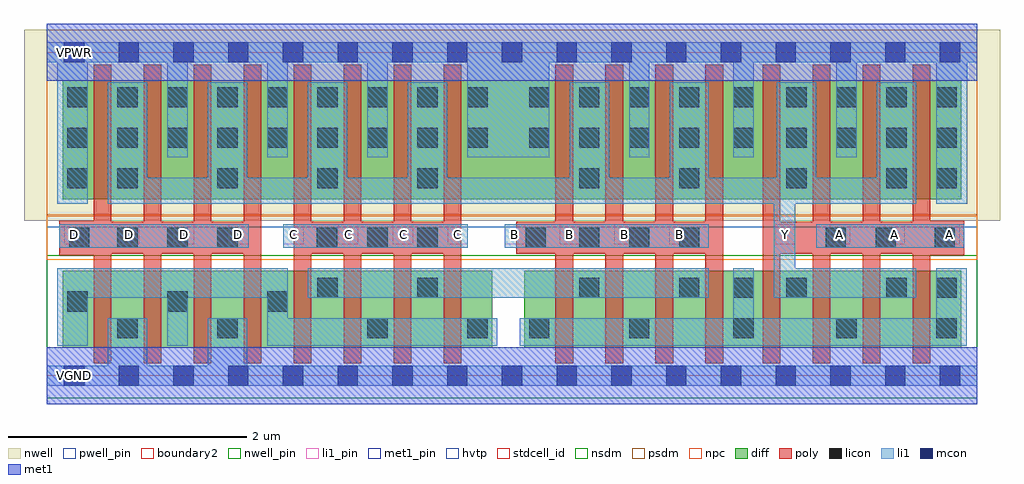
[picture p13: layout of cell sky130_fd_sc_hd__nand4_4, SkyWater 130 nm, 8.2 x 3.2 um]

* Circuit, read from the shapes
.subckt sky130_fd_sc_hd__nand4_4 A B C D VGND VNB VPB VPWR Y
XM1 VGND D n1 VNB sky130_fd_pr__nfet_01v8 w=0.65 l=0.15 m=4
XM2 n2 C n1 VNB sky130_fd_pr__nfet_01v8 w=0.65 l=0.15 m=4
XM3 n2 B n3 VNB sky130_fd_pr__nfet_01v8 w=0.65 l=0.15 m=4
XM4 Y A n3 VNB sky130_fd_pr__nfet_01v8 w=0.65 l=0.15 m=4
XM5 Y D VPWR VPB sky130_fd_pr__pfet_01v8_hvt w=1 l=0.15 m=4
XM6 Y C VPWR VPB sky130_fd_pr__pfet_01v8_hvt w=1 l=0.15 m=4
XM7 Y B VPWR VPB sky130_fd_pr__pfet_01v8_hvt w=1 l=0.15 m=4
XM8 Y A VPWR VPB sky130_fd_pr__pfet_01v8_hvt w=1 l=0.15 m=4
.ends

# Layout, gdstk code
import gdstk
lib = gdstk.Library(unit=1e-6, precision=1e-09)
def R(c, l, rs):  # rectangles x0, y0, x1, y1
    for r in rs: c.add(gdstk.rectangle(r[:2], r[2:], *l))
def A(c, l, x, y, w, h, nx, ny, dx, dy):  # array of equal rectangles
    R(c, l, [(x+i*dx, y+j*dy, x+i*dx+w, y+j*dy+h) for i in range(nx) for j in range(ny)])
def P(c, l, *ps):  # polygons
    for p in ps: c.add(gdstk.Polygon(p, *l))
nwell_pin = (64, 16)
nwell = (64, 20)
diff = (65, 20)
poly = (66, 20)
licon = (66, 44)
li1_pin = (67, 16)
li1 = (67, 20)
mcon = (67, 44)
met1_pin = (68, 16)
met1 = (68, 20)
hvtp = (78, 44)
stdcell_id = (81, 4)
nsdm = (93, 44)
psdm = (94, 20)
npc = (95, 20)
pwell_pin = (122, 16)
boundary2 = (236, 0)

sky130_fd_sc_hd__nand4_4 = lib.new_cell('sky130_fd_sc_hd__nand4_4')
R(sky130_fd_sc_hd__nand4_4, nwell_pin, [(0.15,2.635,0.32,2.805)])
R(sky130_fd_sc_hd__nand4_4, nwell, [(-0.19,1.305,8.01,2.91)])
R(sky130_fd_sc_hd__nand4_4, diff, [(0.135,0.235,3.745,0.885), (4.015,0.235,7.685,0.885), (0.135,1.485,7.685,2.485)])
R(sky130_fd_sc_hd__nand4_4, poly, [(0.105,1.015,0.395,1.025), (7.425,1.015,7.71,1.025), (0.105,1.295,0.395,1.305), (7.425,1.295,7.71,1.305)])
P(sky130_fd_sc_hd__nand4_4, poly, [(1.805,2.615),(1.655,2.615),(1.655,1.295),(1.385,1.295),(1.385,2.615),(1.235,2.615),(1.235,1.295),(0.965,1.295),(0.965,2.615),(0.815,2.615),(0.815,1.295),(0.545,1.295),(0.545,2.615),(0.395,2.615),(0.395,1.295),(0.105,1.295),(0.105,1.025),(0.395,1.025),(0.395,0.105),(0.545,0.105),(0.545,1.025),(0.815,1.025),(0.815,0.105),(0.965,0.105),(0.965,1.025),(1.235,1.025),(1.235,0.105),(1.385,0.105),(1.385,1.025),(1.655,1.025),(1.655,0.105),(1.805,0.105)],
  [(7.71,1.295),(7.425,1.295),(7.425,2.615),(7.275,2.615),(7.275,1.295),(7.005,1.295),(7.005,2.615),(6.855,2.615),(6.855,1.295),(6.585,1.295),(6.585,2.615),(6.435,2.615),(6.435,1.295),(6.165,1.295),(6.165,2.615),(6.015,2.615),(6.015,0.105),(6.165,0.105),(6.165,1.025),(6.435,1.025),(6.435,0.105),(6.585,0.105),(6.585,1.025),(6.855,1.025),(6.855,0.105),(7.005,0.105),(7.005,1.025),(7.275,1.025),(7.275,0.105),(7.425,0.105),(7.425,1.025),(7.71,1.025)],
  [(5.685,2.615),(5.535,2.615),(5.535,1.295),(5.265,1.295),(5.265,2.615),(5.115,2.615),(5.115,1.295),(4.845,1.295),(4.845,2.615),(4.695,2.615),(4.695,1.295),(4.425,1.295),(4.425,2.615),(4.275,2.615),(4.275,1.295),(3.945,1.295),(3.945,1.025),(4.275,1.025),(4.275,0.105),(4.425,0.105),(4.425,1.025),(4.695,1.025),(4.695,0.105),(4.845,0.105),(4.845,1.025),(5.115,1.025),(5.115,0.105),(5.265,0.105),(5.265,1.025),(5.535,1.025),(5.535,0.105),(5.685,0.105)],
  [(3.485,2.615),(3.335,2.615),(3.335,1.295),(3.065,1.295),(3.065,2.615),(2.915,2.615),(2.915,1.295),(2.645,1.295),(2.645,2.615),(2.495,2.615),(2.495,1.295),(2.225,1.295),(2.225,2.615),(2.075,2.615),(2.075,0.105),(2.225,0.105),(2.225,1.025),(2.495,1.025),(2.495,0.105),(2.645,0.105),(2.645,1.025),(2.915,1.025),(2.915,0.105),(3.065,0.105),(3.065,1.025),(3.335,1.025),(3.335,0.105),(3.485,0.105)])
A(sky130_fd_sc_hd__nand4_4, licon, 0.175, 0.54, 0.17, 0.17, 3, 1, 0.84, 0)
A(sky130_fd_sc_hd__nand4_4, licon, 0.595, 1.075, 0.17, 0.17, 3, 1, 0.42, 0)
A(sky130_fd_sc_hd__nand4_4, licon, 4.475, 1.075, 0.17, 0.17, 3, 1, 0.42, 0)
A(sky130_fd_sc_hd__nand4_4, licon, 0.595, 1.575, 0.17, 0.17, 4, 1, 0.84, 0)
A(sky130_fd_sc_hd__nand4_4, licon, 0.175, 1.915, 0.17, 0.17, 9, 2, 0.42, 0.34)
A(sky130_fd_sc_hd__nand4_4, licon, 4.055, 1.915, 0.17, 0.17, 4, 2, 0.42, 0.34)
A(sky130_fd_sc_hd__nand4_4, licon, 6.215, 1.915, 0.17, 0.17, 4, 2, 0.42, 0.34)
R(sky130_fd_sc_hd__nand4_4, licon, [(0.595,0.315,0.765,0.485), (1.435,0.315,1.605,0.485), (2.695,0.315,2.865,0.485), (3.535,0.315,3.705,0.485), (4.055,0.315,4.225,0.485), (4.895,0.315,5.065,0.485), (5.77,0.315,5.94,0.485), (6.635,0.315,6.805,0.485), (7.475,0.315,7.645,0.485), (2.275,0.655,2.445,0.825), (3.115,0.655,3.285,0.825), (4.475,0.655,4.645,0.825), (5.315,0.655,5.485,0.825), (5.77,0.655,5.94,0.825), (6.215,0.655,6.385,0.825), (7.055,0.655,7.225,0.825), (7.475,0.655,7.645,0.825), (0.19,1.075,0.36,1.245), (2.27,1.075,2.44,1.245), (2.695,1.075,2.865,1.245), (3.115,1.075,3.285,1.245), (4.025,1.075,4.195,1.245), (6.545,1.075,6.715,1.245), (6.965,1.075,7.135,1.245), (7.46,1.075,7.63,1.245), (0.175,1.575,0.345,1.745), (4.475,1.575,4.645,1.745), (5.315,1.575,5.485,1.745), (6.215,1.575,6.385,1.745), (7.055,1.575,7.225,1.745), (7.475,1.575,7.645,1.745), (5.77,1.915,5.94,2.085), (5.77,2.255,5.94,2.425)])
A(sky130_fd_sc_hd__nand4_4, li1_pin, 0.15, 1.105, 0.17, 0.17, 8, 1, 0.46, 0)
A(sky130_fd_sc_hd__nand4_4, li1_pin, 3.85, 1.105, 0.17, 0.17, 4, 1, 0.46, 0)
A(sky130_fd_sc_hd__nand4_4, li1_pin, 6.12, 1.105, 0.17, 0.17, 4, 1, 0.46, 0)
R(sky130_fd_sc_hd__nand4_4, li1, [(2.195,0.655,5.565,0.905), (0.105,1.075,1.7,1.275), (1.99,1.075,3.54,1.275), (3.85,1.075,5.565,1.275), (6.465,1.075,7.71,1.275)])
P(sky130_fd_sc_hd__nand4_4, li1, [(7.82,0.085),(1.685,0.085),(1.685,0.485),(1.355,0.485),(1.355,0.085),(0.845,0.085),(0.845,0.485),(0.515,0.485),(0.515,0.085),(0,0.085),(0,-0.085),(7.82,-0.085)],
  [(7.73,0.905),(7.475,0.905),(7.475,0.485),(5.94,0.485),(5.94,0.905),(5.77,0.905),(5.77,0.485),(3.975,0.485),(3.975,0.255),(7.73,0.255)],
  [(3.785,0.485),(2.025,0.485),(2.025,0.905),(0.09,0.905),(0.09,0.255),(0.345,0.255),(0.345,0.655),(1.015,0.655),(1.015,0.255),(1.185,0.255),(1.185,0.655),(1.855,0.655),(1.855,0.255),(3.785,0.255)],
  [(7.82,2.805),(0,2.805),(0,2.635),(0.09,2.635),(0.09,1.445),(0.345,1.445),(0.345,2.635),(1.015,2.635),(1.015,1.835),(1.185,1.835),(1.185,2.635),(1.855,2.635),(1.855,1.835),(2.025,1.835),(2.025,2.635),(2.695,2.635),(2.695,1.835),(2.865,1.835),(2.865,2.635),(3.535,2.635),(3.535,1.835),(4.225,1.835),(4.225,2.635),(4.895,2.635),(4.895,1.835),(5.065,1.835),(5.065,2.635),(5.77,2.635),(5.77,1.835),(5.94,1.835),(5.94,2.635),(6.635,2.635),(6.635,1.835),(6.805,1.835),(6.805,2.635),(7.475,2.635),(7.475,1.445),(7.735,1.445),(7.735,2.635),(7.82,2.635)],
  [(7.305,0.905),(6.29,0.905),(6.29,1.445),(7.305,1.445),(7.305,2.465),(6.975,2.465),(6.975,1.665),(6.465,1.665),(6.465,2.465),(6.135,2.465),(6.135,1.665),(5.565,1.665),(5.565,2.465),(5.235,2.465),(5.235,1.665),(4.725,1.665),(4.725,2.465),(4.395,2.465),(4.395,1.665),(3.365,1.665),(3.365,2.465),(3.035,2.465),(3.035,1.665),(2.525,1.665),(2.525,2.465),(2.195,2.465),(2.195,1.665),(1.685,1.665),(1.685,2.465),(1.355,2.465),(1.355,1.665),(0.845,1.665),(0.845,2.465),(0.515,2.465),(0.515,1.445),(6.11,1.445),(6.11,0.655),(7.305,0.655)])
A(sky130_fd_sc_hd__nand4_4, mcon, 0.145, -0.085, 0.17, 0.17, 17, 2, 0.46, 2.72)
R(sky130_fd_sc_hd__nand4_4, met1_pin, [(0.15,-0.085,0.32,0.085), (0.15,2.635,0.32,2.805)])
R(sky130_fd_sc_hd__nand4_4, hvtp, [(0,1.25,7.82,2.72)])
R(sky130_fd_sc_hd__nand4_4, stdcell_id, [(0,0,7.82,2.72)])
R(sky130_fd_sc_hd__nand4_4, nsdm, [(0,-0.19,7.82,1.015)])
R(sky130_fd_sc_hd__nand4_4, psdm, [(0,1.355,7.82,2.91)])
R(sky130_fd_sc_hd__nand4_4, npc, [(0,0.975,7.82,1.345)])
R(sky130_fd_sc_hd__nand4_4, pwell_pin, [(0.15,-0.085,0.32,0.085)])
R(sky130_fd_sc_hd__nand4_4, boundary2, [(0,0,7.82,2.72)])
sky130_fd_sc_hd__nand4_4.add(gdstk.FlexPath([(0,0),(7.82,0)], 0.48, ends="flush", simple_path=True, layer=68, datatype=20))  # met1
sky130_fd_sc_hd__nand4_4.add(gdstk.FlexPath([(0,2.72),(7.82,2.72)], 0.48, ends="flush", simple_path=True, layer=68, datatype=20))  # met1
sky130_fd_sc_hd__nand4_4.add(gdstk.Label('A', (7.585,1.19), layer=67, texttype=5))
sky130_fd_sc_hd__nand4_4.add(gdstk.Label('A', (7.125,1.19), layer=67, texttype=5))
sky130_fd_sc_hd__nand4_4.add(gdstk.Label('A', (6.665,1.19), layer=67, texttype=5))
sky130_fd_sc_hd__nand4_4.add(gdstk.Label('D', (0.235,1.19), layer=67, texttype=5))
sky130_fd_sc_hd__nand4_4.add(gdstk.Label('D', (0.695,1.19), layer=67, texttype=5))
sky130_fd_sc_hd__nand4_4.add(gdstk.Label('D', (1.155,1.19), layer=67, texttype=5))
sky130_fd_sc_hd__nand4_4.add(gdstk.Label('D', (1.615,1.19), layer=67, texttype=5))
sky130_fd_sc_hd__nand4_4.add(gdstk.Label('C', (2.075,1.19), layer=67, texttype=5))
sky130_fd_sc_hd__nand4_4.add(gdstk.Label('C', (2.535,1.19), layer=67, texttype=5))
sky130_fd_sc_hd__nand4_4.add(gdstk.Label('C', (2.995,1.19), layer=67, texttype=5))
sky130_fd_sc_hd__nand4_4.add(gdstk.Label('C', (3.455,1.19), layer=67, texttype=5))
sky130_fd_sc_hd__nand4_4.add(gdstk.Label('B', (3.935,1.19), layer=67, texttype=5))
sky130_fd_sc_hd__nand4_4.add(gdstk.Label('B', (4.395,1.19), layer=67, texttype=5))
sky130_fd_sc_hd__nand4_4.add(gdstk.Label('B', (4.855,1.19), layer=67, texttype=5))
sky130_fd_sc_hd__nand4_4.add(gdstk.Label('B', (5.315,1.19), layer=67, texttype=5))
sky130_fd_sc_hd__nand4_4.add(gdstk.Label('Y', (6.205,1.19), layer=67, texttype=5))
sky130_fd_sc_hd__nand4_4.add(gdstk.Label('VPWR', (0.235,2.72), layer=68, texttype=5))
sky130_fd_sc_hd__nand4_4.add(gdstk.Label('VGND', (0.235,0), layer=68, texttype=5))
sky130_fd_sc_hd__nand4_4.add(gdstk.Label('VPB', (0.235,2.72), layer=64, texttype=5))
sky130_fd_sc_hd__nand4_4.add(gdstk.Label('VNB', (0.235,0), layer=64, texttype=59))
sky130_fd_sc_hd__nand4_4.add(gdstk.Label('nand4_4', (0,0), layer=83, texttype=44))

lib.write_gds('sky130_fd_sc_hd__nand4_4.gds')
